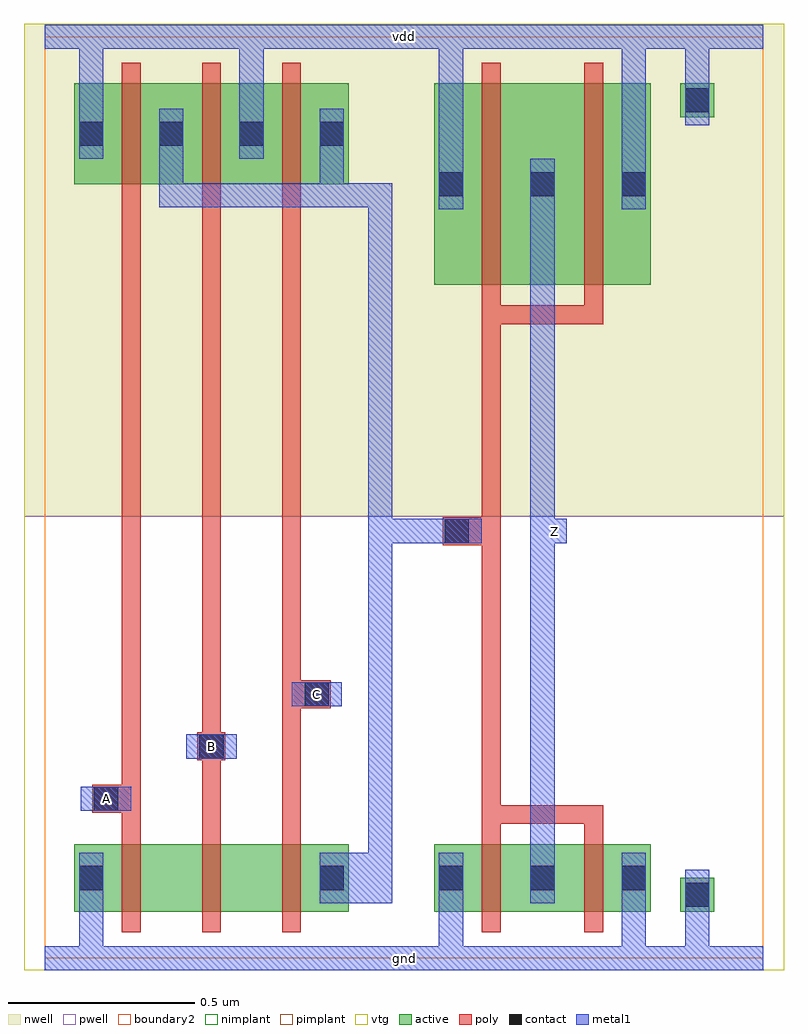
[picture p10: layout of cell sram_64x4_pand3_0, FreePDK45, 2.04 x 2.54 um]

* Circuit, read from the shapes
.subckt sram_64x4_pand3_0 A B C Z gnd vdd
M1 sram_64x4_pnand3_0_0/sram_64x4_nmos_m1_w0_180_sm1_dactive_3/D A gnd gnd nfet w=0.18u l=0.05u
M2 sram_64x4_pnand3_0_0/sram_64x4_nmos_m1_w0_180_sactive_dactive_4/D B sram_64x4_pnand3_0_0/sram_64x4_nmos_m1_w0_180_sm1_dactive_3/D gnd nfet w=0.18u l=0.05u
M3 sram_64x4_pdriver_3_1/A C sram_64x4_pnand3_0_0/sram_64x4_nmos_m1_w0_180_sactive_dactive_4/D gnd nfet w=0.18u l=0.05u
M4 Z sram_64x4_pdriver_3_1/A gnd gnd nfet w=0.18u l=0.05u m=2
M5 sram_64x4_pdriver_3_1/A A vdd vdd pfet w=0.27u l=0.05u
M6 vdd B sram_64x4_pdriver_3_1/A vdd pfet w=0.27u l=0.05u
M7 sram_64x4_pdriver_3_1/A C vdd vdd pfet w=0.27u l=0.05u
M8 Z sram_64x4_pdriver_3_1/A vdd vdd pfet w=0.54u l=0.05u m=2
.ends

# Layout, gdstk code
import gdstk
lib = gdstk.Library(unit=1e-6, precision=5e-10)
def R(c, l, rs):  # rectangles x0, y0, x1, y1
    for r in rs: c.add(gdstk.rectangle(r[:2], r[2:], *l))
def A(c, l, x, y, w, h, nx, ny, dx, dy):  # array of equal rectangles
    R(c, l, [(x+i*dx, y+j*dy, x+i*dx+w, y+j*dy+h) for i in range(nx) for j in range(ny)])
active = (1, 0)
pwell = (2, 0)
nwell = (3, 0)
nimplant = (4, 0)
pimplant = (5, 0)
vtg = (6, 0)
poly = (9, 0)
contact = (10, 0)
metal1 = (11, 0)
boundary2 = (239, 0)

sram_64x4_contact_11 = lib.new_cell('sram_64x4_contact_11')
R(sram_64x4_contact_11, active, [(0,0.0225,0.09,0.1125)])
R(sram_64x4_contact_11, nwell, [(-0.055,-0.0325,0.145,0.1675)])
R(sram_64x4_contact_11, pimplant, [(0,0.0225,0.09,0.1125)])
R(sram_64x4_contact_11, contact, [(0.0125,0.035,0.0775,0.1)])
R(sram_64x4_contact_11, metal1, [(0.0125,0,0.0775,0.135)])
R(sram_64x4_contact_11, boundary2, [(-0.055,-0.0325,0.145,0.1675)])

sram_64x4_pmos_m1_w0_270 = lib.new_cell('sram_64x4_pmos_m1_w0_270_sm1_dm1')
R(sram_64x4_pmos_m1_w0_270, active, [(0,0,0.305,0.27)])
R(sram_64x4_pmos_m1_w0_270, nwell, [(-0.08,-0.08,0.385,0.35)])
R(sram_64x4_pmos_m1_w0_270, pimplant, [(0,0,0.305,0.27)])
R(sram_64x4_pmos_m1_w0_270, vtg, [(-0.08,-0.08,0.385,0.35)])
R(sram_64x4_pmos_m1_w0_270, poly, [(0.1275,-0.055,0.1775,0.325), (0.1275,-0.055,0.1775,0.325)])
R(sram_64x4_pmos_m1_w0_270, metal1, [(0.0125,0.0675,0.0775,0.2025), (0.2275,0.0675,0.2925,0.2025)])
R(sram_64x4_pmos_m1_w0_270, boundary2, [(-0.08,-0.08,0.385,0.35)])
sram_64x4_pmos_m1_w0_270.add(gdstk.Reference(sram_64x4_contact_11, (0,0.0675)))
sram_64x4_pmos_m1_w0_270.add(gdstk.Reference(sram_64x4_contact_11, (0.215,0.0675)))
sram_64x4_pmos_m1_w0_270.add(gdstk.Label('G', (0.1525,0.135), layer=9, texttype=0))
sram_64x4_pmos_m1_w0_270.add(gdstk.Label('S', (0.045,0.135), layer=11, texttype=0))
sram_64x4_pmos_m1_w0_270.add(gdstk.Label('D', (0.26,0.135), layer=11, texttype=0))

sram_64x4_contact_10 = lib.new_cell('sram_64x4_contact_10')
R(sram_64x4_contact_10, active, [(0,0.0225,0.09,0.1125)])
R(sram_64x4_contact_10, pwell, [(-0.055,-0.0325,0.145,0.1675)])
R(sram_64x4_contact_10, nimplant, [(0,0.0225,0.09,0.1125)])
R(sram_64x4_contact_10, contact, [(0.0125,0.035,0.0775,0.1)])
R(sram_64x4_contact_10, metal1, [(0.0125,0,0.0775,0.135)])
R(sram_64x4_contact_10, boundary2, [(-0.055,-0.0325,0.145,0.1675)])

sram_64x4_nmos_m1_w0_180 = lib.new_cell('sram_64x4_nmos_m1_w0_180_sm1_dactive')
R(sram_64x4_nmos_m1_w0_180, active, [(0,0,0.305,0.18), (0.215,0.045,0.305,0.135)])
R(sram_64x4_nmos_m1_w0_180, pwell, [(-0.08,-0.08,0.385,0.26)])
R(sram_64x4_nmos_m1_w0_180, nimplant, [(0,0,0.305,0.18)])
R(sram_64x4_nmos_m1_w0_180, vtg, [(-0.08,-0.08,0.385,0.26)])
R(sram_64x4_nmos_m1_w0_180, poly, [(0.1275,-0.055,0.1775,0.235), (0.1275,-0.055,0.1775,0.235)])
R(sram_64x4_nmos_m1_w0_180, metal1, [(0.0125,0.0225,0.0775,0.1575)])
R(sram_64x4_nmos_m1_w0_180, boundary2, [(-0.08,-0.08,0.385,0.26)])
sram_64x4_nmos_m1_w0_180.add(gdstk.Reference(sram_64x4_contact_10, (0,0.0225)))
sram_64x4_nmos_m1_w0_180.add(gdstk.Label('G', (0.1525,0.09), layer=9, texttype=0))
sram_64x4_nmos_m1_w0_180.add(gdstk.Label('S', (0.045,0.09), layer=11, texttype=0))
sram_64x4_nmos_m1_w0_180.add(gdstk.Label('D', (0.26,0.09), layer=1, texttype=0))

c_sram_64x4_nmos_m1_w0_180 = lib.new_cell('sram_64x4_nmos_m1_w0_180_sactive_dactive')
R(c_sram_64x4_nmos_m1_w0_180, active, [(0,0,0.305,0.18), (0,0.045,0.09,0.135), (0.215,0.045,0.305,0.135)])
R(c_sram_64x4_nmos_m1_w0_180, pwell, [(-0.08,-0.08,0.385,0.26)])
R(c_sram_64x4_nmos_m1_w0_180, nimplant, [(0,0,0.305,0.18)])
R(c_sram_64x4_nmos_m1_w0_180, vtg, [(-0.08,-0.08,0.385,0.26)])
R(c_sram_64x4_nmos_m1_w0_180, poly, [(0.1275,-0.055,0.1775,0.235), (0.1275,-0.055,0.1775,0.235)])
R(c_sram_64x4_nmos_m1_w0_180, boundary2, [(-0.08,-0.08,0.385,0.26)])
c_sram_64x4_nmos_m1_w0_180.add(gdstk.Label('G', (0.1525,0.09), layer=9, texttype=0))
c_sram_64x4_nmos_m1_w0_180.add(gdstk.Label('S', (0.045,0.09), layer=1, texttype=0))
c_sram_64x4_nmos_m1_w0_180.add(gdstk.Label('D', (0.26,0.09), layer=1, texttype=0))

c_sram_64x4_nmos_m1_w0_180_ = lib.new_cell('sram_64x4_nmos_m1_w0_180_sactive_dm1')
R(c_sram_64x4_nmos_m1_w0_180_, active, [(0,0,0.305,0.18), (0,0.045,0.09,0.135)])
R(c_sram_64x4_nmos_m1_w0_180_, pwell, [(-0.08,-0.08,0.385,0.26)])
R(c_sram_64x4_nmos_m1_w0_180_, nimplant, [(0,0,0.305,0.18)])
R(c_sram_64x4_nmos_m1_w0_180_, vtg, [(-0.08,-0.08,0.385,0.26)])
R(c_sram_64x4_nmos_m1_w0_180_, poly, [(0.1275,-0.055,0.1775,0.235), (0.1275,-0.055,0.1775,0.235)])
R(c_sram_64x4_nmos_m1_w0_180_, metal1, [(0.2275,0.0225,0.2925,0.1575)])
R(c_sram_64x4_nmos_m1_w0_180_, boundary2, [(-0.08,-0.08,0.385,0.26)])
c_sram_64x4_nmos_m1_w0_180_.add(gdstk.Reference(sram_64x4_contact_10, (0.215,0.0225)))
c_sram_64x4_nmos_m1_w0_180_.add(gdstk.Label('G', (0.1525,0.09), layer=9, texttype=0))
c_sram_64x4_nmos_m1_w0_180_.add(gdstk.Label('S', (0.045,0.09), layer=1, texttype=0))
c_sram_64x4_nmos_m1_w0_180_.add(gdstk.Label('D', (0.26,0.09), layer=11, texttype=0))

sram_64x4_contact_14 = lib.new_cell('sram_64x4_contact_14')
R(sram_64x4_contact_14, poly, [(0.03,0,0.105,0.075)])
R(sram_64x4_contact_14, contact, [(0.035,0.005,0.1,0.07)])
R(sram_64x4_contact_14, metal1, [(0,0.005,0.135,0.07)])
R(sram_64x4_contact_14, boundary2, [(0,0,0.135,0.075)])

sram_64x4_pnand3_0 = lib.new_cell('sram_64x4_pnand3_0')
R(sram_64x4_pnand3_0, pwell, [(-0.055,-0.0325,1.02,1.185)])
R(sram_64x4_pnand3_0, nwell, [(-0.055,1.185,1.02,2.505)])
R(sram_64x4_pnand3_0, vtg, [(-0.055,-0.0325,1.02,1.185), (-0.055,1.185,1.02,2.505)])
A(sram_64x4_pnand3_0, poly, 0.2075, 0.36, 0.05, 1.66, 3, 1, 0.215, 0)
R(sram_64x4_pnand3_0, poly, [(0.165,0.39,0.2075,0.465), (0.4225,0.53,0.4475,0.605), (0.6375,0.67,0.73,0.745)])
R(sram_64x4_pnand3_0, metal1, [(0,-0.0325,0.965,0.0325), (0.0925,-0.0325,0.1575,0.1475), (0.77,0.1475,0.9,0.2825), (0.8675,0.1475,0.9325,2.045), (0.0975,0.395,0.2325,0.46), (0.38,0.535,0.515,0.6), (0.6625,0.675,0.7975,0.74), (0.3075,2.0125,0.3725,2.0775), (0.34,2.0125,0.9,2.0775), (0.7375,2.0125,0.8025,2.0775), (0.77,2.0125,0.9,2.0775), (0.8675,2.0125,0.9325,2.0775), (0.3075,2.045,0.3725,2.21), (0.7375,2.045,0.8025,2.21), (0.0925,2.1425,0.1575,2.5025), (0.5225,2.1425,0.5875,2.5025), (0,2.4375,0.965,2.5025)])
R(sram_64x4_pnand3_0, boundary2, [(0,0,0.965,2.47), (0,0,0.965,2.47)])
sram_64x4_pnand3_0.add(gdstk.Reference(sram_64x4_pmos_m1_w0_270, (0.08,2.075)))
sram_64x4_pnand3_0.add(gdstk.Reference(sram_64x4_pmos_m1_w0_270, (0.295,2.075)))
sram_64x4_pnand3_0.add(gdstk.Reference(sram_64x4_pmos_m1_w0_270, (0.51,2.075)))
sram_64x4_pnand3_0.add(gdstk.Reference(sram_64x4_nmos_m1_w0_180, (0.08,0.125)))
sram_64x4_pnand3_0.add(gdstk.Reference(c_sram_64x4_nmos_m1_w0_180, (0.295,0.125)))
sram_64x4_pnand3_0.add(gdstk.Reference(c_sram_64x4_nmos_m1_w0_180_, (0.51,0.125)))
sram_64x4_pnand3_0.add(gdstk.Reference(sram_64x4_contact_14, (0.0975,0.39)))
sram_64x4_pnand3_0.add(gdstk.Reference(sram_64x4_contact_14, (0.38,0.53)))
sram_64x4_pnand3_0.add(gdstk.Reference(sram_64x4_contact_14, (0.6625,0.67)))
sram_64x4_pnand3_0.add(gdstk.Label('A', (0.165,0.4275), layer=11, texttype=0))
sram_64x4_pnand3_0.add(gdstk.Label('B', (0.4475,0.5675), layer=11, texttype=0))
sram_64x4_pnand3_0.add(gdstk.Label('C', (0.73,0.7075), layer=11, texttype=0))
sram_64x4_pnand3_0.add(gdstk.Label('Z', (0.9,2.045), layer=11, texttype=0))
sram_64x4_pnand3_0.add(gdstk.Label('gnd', (0.4825,0), layer=11, texttype=0))
sram_64x4_pnand3_0.add(gdstk.Label('vdd', (0.4825,2.47), layer=11, texttype=0))

sram_64x4_pmos_m2_w0_540 = lib.new_cell('sram_64x4_pmos_m2_w0_540_sm1_dm1_da_p')
R(sram_64x4_pmos_m2_w0_540, active, [(0,0,0.58,0.54)])
R(sram_64x4_pmos_m2_w0_540, nwell, [(-0.08,-0.08,0.66,0.62)])
R(sram_64x4_pmos_m2_w0_540, pimplant, [(0,0,0.58,0.54)])
R(sram_64x4_pmos_m2_w0_540, vtg, [(-0.08,-0.08,0.66,0.62)])
R(sram_64x4_pmos_m2_w0_540, poly, [(0.1275,-0.105,0.4525,-0.055), (0.1275,-0.055,0.1775,0.595), (0.4025,-0.055,0.4525,0.595)])
A(sram_64x4_pmos_m2_w0_540, metal1, 0.0125, 0.2025, 0.065, 0.135, 3, 1, 0.245, 0)
R(sram_64x4_pmos_m2_w0_540, boundary2, [(-0.08,-0.105,0.66,0.62)])
sram_64x4_pmos_m2_w0_540.add(gdstk.Reference(sram_64x4_contact_11, (0,0.2025)))
sram_64x4_pmos_m2_w0_540.add(gdstk.Reference(sram_64x4_contact_11, (0.245,0.2025)))
sram_64x4_pmos_m2_w0_540.add(gdstk.Reference(sram_64x4_contact_11, (0.49,0.2025)))
sram_64x4_pmos_m2_w0_540.add(gdstk.Label('G', (0.29,-0.08), layer=9, texttype=0))
sram_64x4_pmos_m2_w0_540.add(gdstk.Label('S', (0.535,0.27), layer=11, texttype=0))
sram_64x4_pmos_m2_w0_540.add(gdstk.Label('S', (0.045,0.27), layer=11, texttype=0))
sram_64x4_pmos_m2_w0_540.add(gdstk.Label('D', (0.29,0.27), layer=11, texttype=0))

sram_64x4_nmos_m2_w0_180 = lib.new_cell('sram_64x4_nmos_m2_w0_180_sm1_dm1_da_p')
R(sram_64x4_nmos_m2_w0_180, active, [(0,0,0.58,0.18)])
R(sram_64x4_nmos_m2_w0_180, pwell, [(-0.08,-0.08,0.66,0.26)])
R(sram_64x4_nmos_m2_w0_180, nimplant, [(0,0,0.58,0.18)])
R(sram_64x4_nmos_m2_w0_180, vtg, [(-0.08,-0.08,0.66,0.26)])
R(sram_64x4_nmos_m2_w0_180, poly, [(0.1275,-0.055,0.1775,0.235), (0.4025,-0.055,0.4525,0.235), (0.1275,0.235,0.4525,0.285)])
A(sram_64x4_nmos_m2_w0_180, metal1, 0.0125, 0.0225, 0.065, 0.135, 3, 1, 0.245, 0)
R(sram_64x4_nmos_m2_w0_180, boundary2, [(-0.08,-0.08,0.66,0.285)])
sram_64x4_nmos_m2_w0_180.add(gdstk.Reference(sram_64x4_contact_10, (0,0.0225)))
sram_64x4_nmos_m2_w0_180.add(gdstk.Reference(sram_64x4_contact_10, (0.245,0.0225)))
sram_64x4_nmos_m2_w0_180.add(gdstk.Reference(sram_64x4_contact_10, (0.49,0.0225)))
sram_64x4_nmos_m2_w0_180.add(gdstk.Label('G', (0.29,0.26), layer=9, texttype=0))
sram_64x4_nmos_m2_w0_180.add(gdstk.Label('S', (0.045,0.09), layer=11, texttype=0))
sram_64x4_nmos_m2_w0_180.add(gdstk.Label('S', (0.535,0.09), layer=11, texttype=0))
sram_64x4_nmos_m2_w0_180.add(gdstk.Label('D', (0.29,0.09), layer=11, texttype=0))

sram_64x4_contact_12 = lib.new_cell('sram_64x4_contact_12')
R(sram_64x4_contact_12, active, [(0,0.0225,0.09,0.1125)])
R(sram_64x4_contact_12, nwell, [(-0.055,-0.0325,0.145,0.1675)])
R(sram_64x4_contact_12, nimplant, [(0,0.0225,0.09,0.1125)])
R(sram_64x4_contact_12, contact, [(0.0125,0.035,0.0775,0.1)])
R(sram_64x4_contact_12, metal1, [(0.0125,0,0.0775,0.135)])
R(sram_64x4_contact_12, boundary2, [(-0.055,-0.0325,0.145,0.1675)])

sram_64x4_contact_13 = lib.new_cell('sram_64x4_contact_13')
R(sram_64x4_contact_13, active, [(0,0.0225,0.09,0.1125)])
R(sram_64x4_contact_13, pwell, [(-0.055,-0.0325,0.145,0.1675)])
R(sram_64x4_contact_13, pimplant, [(0,0.0225,0.09,0.1125)])
R(sram_64x4_contact_13, contact, [(0.0125,0.035,0.0775,0.1)])
R(sram_64x4_contact_13, metal1, [(0.0125,0,0.0775,0.135)])
R(sram_64x4_contact_13, boundary2, [(-0.055,-0.0325,0.145,0.1675)])

sram_64x4_pinv_11 = lib.new_cell('sram_64x4_pinv_11')
R(sram_64x4_pinv_11, pwell, [(-0.055,-0.0325,1.0175,1.185)])
R(sram_64x4_pinv_11, nwell, [(-0.055,1.185,1.0175,2.505)])
R(sram_64x4_pinv_11, vtg, [(-0.055,-0.0325,1.0175,1.185), (-0.055,1.185,1.0175,2.505)])
R(sram_64x4_pinv_11, poly, [(0.2075,0.41,0.2575,1.7), (0.14,1.1075,0.2075,1.1825)])
R(sram_64x4_pinv_11, metal1, [(0,-0.0325,0.9625,0.0325), (0.0925,-0.0325,0.1575,0.1475), (0.5825,-0.0325,0.6475,0.1475), (0.7525,0,0.8175,0.17), (0.3375,0.1475,0.4025,2.1425), (0.0725,1.1125,0.2075,1.1775), (0.37,1.1125,0.435,1.1775), (0.0925,2.0075,0.1575,2.5025), (0.5825,2.0075,0.6475,2.5025), (0.7525,2.3,0.8175,2.47), (0,2.4375,0.9625,2.5025)])
R(sram_64x4_pinv_11, boundary2, [(0,0,0.9625,2.47), (0,0,0.9625,2.47)])
sram_64x4_pinv_11.add(gdstk.Reference(sram_64x4_pmos_m2_w0_540, (0.08,1.805)))
sram_64x4_pinv_11.add(gdstk.Reference(sram_64x4_nmos_m2_w0_180, (0.08,0.125)))
sram_64x4_pinv_11.add(gdstk.Reference(sram_64x4_contact_12, (0.74,2.2325)))
sram_64x4_pinv_11.add(gdstk.Reference(sram_64x4_contact_13, (0.74,0.1025)))
sram_64x4_pinv_11.add(gdstk.Reference(sram_64x4_contact_14, (0.0725,1.1075)))
sram_64x4_pinv_11.add(gdstk.Label('A', (0.14,1.145), layer=11, texttype=0))
sram_64x4_pinv_11.add(gdstk.Label('Z', (0.4025,1.145), layer=11, texttype=0))
sram_64x4_pinv_11.add(gdstk.Label('gnd', (0.481,0), layer=11, texttype=0))
sram_64x4_pinv_11.add(gdstk.Label('vdd', (0.481,2.47), layer=11, texttype=0))

sram_64x4_pdriver_3 = lib.new_cell('sram_64x4_pdriver_3')
R(sram_64x4_pdriver_3, pwell, [(-0.055,-0.0325,1.0175,1.185)])
R(sram_64x4_pdriver_3, nwell, [(-0.055,1.185,1.0175,2.505)])
R(sram_64x4_pdriver_3, vtg, [(-0.055,-0.0325,1.0175,1.185), (-0.055,1.185,1.0175,2.505)])
R(sram_64x4_pdriver_3, metal1, [(0,-0.0325,0.9625,0.0325), (0.0725,1.1125,0.2075,1.1775), (0.37,1.1125,0.435,1.1775), (0,2.4375,0.9625,2.5025)])
R(sram_64x4_pdriver_3, boundary2, [(0,0,0.9625,2.47), (0,0,0.9625,2.47)])
sram_64x4_pdriver_3.add(gdstk.Reference(sram_64x4_pinv_11, (0,0)))
sram_64x4_pdriver_3.add(gdstk.Label('Z', (0.4025,1.145), layer=11, texttype=0))
sram_64x4_pdriver_3.add(gdstk.Label('A', (0.14,1.145), layer=11, texttype=0))
sram_64x4_pdriver_3.add(gdstk.Label('gnd', (0.481,0), layer=11, texttype=0))
sram_64x4_pdriver_3.add(gdstk.Label('vdd', (0.481,2.47), layer=11, texttype=0))

sram_64x4_pand3_0 = lib.new_cell('sram_64x4_pand3_0')
R(sram_64x4_pand3_0, metal1, [(0,-0.0325,1.9275,0.0325), (0.0975,0.395,0.2325,0.46), (0.38,0.535,0.515,0.6), (0.6625,0.675,0.7975,0.74), (0.8675,1.1125,0.9325,1.1775), (0.9,1.1125,1.105,1.1775), (1.335,1.1125,1.4,1.1775), (0.8675,1.145,0.9325,2.045), (0,2.4375,1.9275,2.5025)])
R(sram_64x4_pand3_0, boundary2, [(0,0,1.9275,2.47), (0,0,1.9275,2.47)])
sram_64x4_pand3_0.add(gdstk.Reference(sram_64x4_pnand3_0, (0,0)))
sram_64x4_pand3_0.add(gdstk.Reference(sram_64x4_pdriver_3, (0.965,0)))
sram_64x4_pand3_0.add(gdstk.Label('Z', (1.3675,1.145), layer=11, texttype=0))
sram_64x4_pand3_0.add(gdstk.Label('A', (0.165,0.4275), layer=11, texttype=0))
sram_64x4_pand3_0.add(gdstk.Label('B', (0.4475,0.5675), layer=11, texttype=0))
sram_64x4_pand3_0.add(gdstk.Label('C', (0.73,0.7075), layer=11, texttype=0))
sram_64x4_pand3_0.add(gdstk.Label('gnd', (0.964,0), layer=11, texttype=0))
sram_64x4_pand3_0.add(gdstk.Label('vdd', (0.964,2.47), layer=11, texttype=0))

lib.write_gds('sram_64x4_pand3_0.gds')
